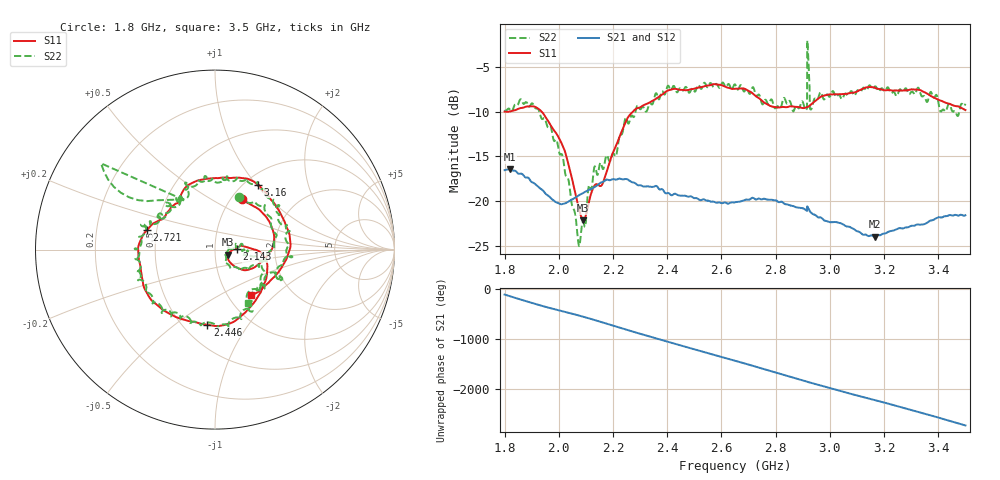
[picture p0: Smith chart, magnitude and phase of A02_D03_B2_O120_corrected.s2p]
! Created with skrf 1.9.0 (http://scikit-rf.org).
# Hz S RI R 50.0
!freq ReS11 ImS11 ReS21 ImS21 ReS12 ImS12 ReS22 ImS22
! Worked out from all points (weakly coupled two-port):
!   1601 points, 1.8 GHz to 3.5 GHz, reference 50 ohm
!   highest |S21| = -16.43 dB at 1.819 GHz (marker M1); lowest = -24.0 dB at 3.165 GHz (marker M2)
!   lowest |S11| = -22.2 dB at 2.09 GHz (marker M3), VSWR 1.17, Z = 57.7 - j3.36 ohm
!   |S11| at or under -10 dB: 1.938 GHz to 2.272 GHz (334.6 MHz wide, 15.9 % of centre)
!   |S22| runs from -25.1 to -2.0 dB; largest |S21 - S12| = 0.0025
!   S11 on the Smith chart (normalised r, x): 1.8 GHz: 1.13, +0.70; 2.143 GHz: 1.28, +0.00; 2.446 GHz: 0.65, -0.66; 2.721 GHz: 0.44, +0.11; 3.16 GHz: 1.15, +1.02; 3.5 GHz: 1.27, -0.72
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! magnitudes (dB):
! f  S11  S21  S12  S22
! 1.8 GHz  -10.0  -16.5  -16.5  -9.8
! 1.819 GHz  -10.0  -16.4  -16.5  -9.7
! 1.903 GHz  -9.4  -17.9  -17.9  -9.1
! 1.968 GHz  -11.4  -19.6  -19.6  -11.6
! 2.015 GHz  -13.8  -20.3  -20.4  -15.0
! 2.072 GHz  -20.6  -19.4  -19.4  -24.7
! 2.084 GHz  -21.8  -19.2  -19.2  -23.0
! 2.09 GHz  -22.2  -19.1  -19.2  -22.3
! 2.143 GHz  -18.2  -18.2  -18.2  -17.1
! 2.259 GHz  -10.4  -17.7  -17.7  -11.2
! 2.367 GHz  -8.3  -18.6  -18.5  -8.5
! 2.446 GHz  -7.5  -19.4  -19.4  -7.4
! 2.65 GHz  -7.4  -20.1  -20.1  -6.9
! 2.721 GHz  -8.1  -19.7  -19.6  -7.5
! 2.868 GHz  -9.4  -20.6  -20.6  -9.8
! 2.907 GHz  -9.6  -20.9  -20.9  -9.6
! 2.925 GHz  -9.3  -21.1  -21.1  -7.4
! 2.934 GHz  -9.1  -21.4  -21.4  -9.5
! 3.16 GHz  -7.2  -24.0  -23.9  -7.4
! 3.165 GHz  -7.3  -24.0  -24.0  -7.2
! 3.217 GHz  -7.6  -23.4  -23.4  -7.4
! 3.5 GHz  -9.8  -21.6  -21.6  -9.1
